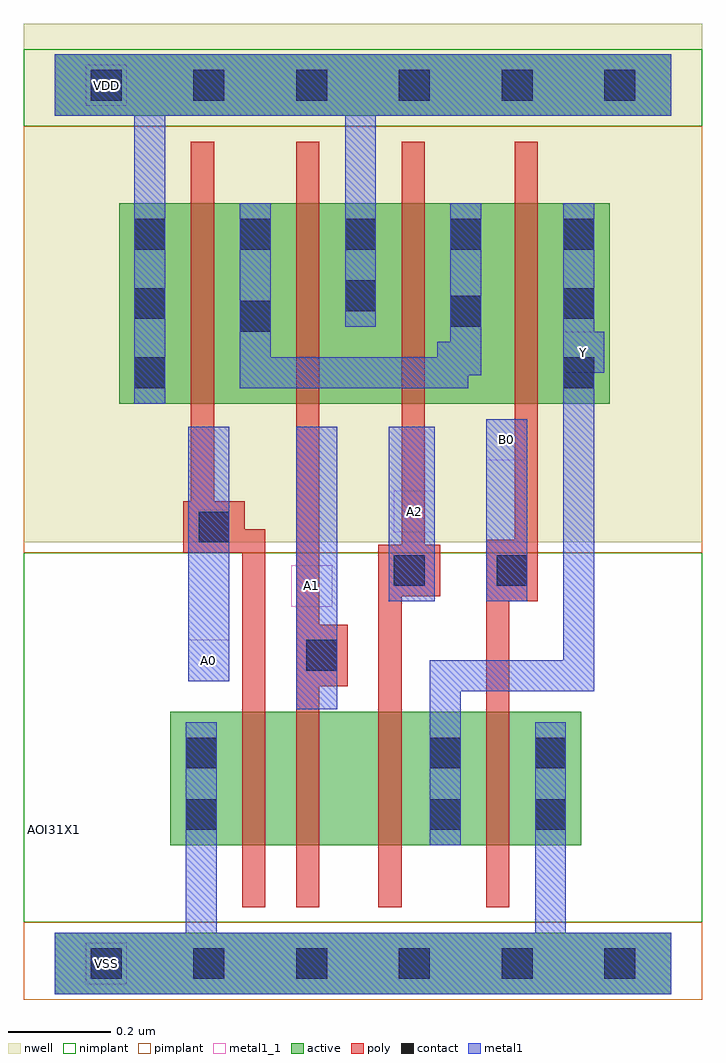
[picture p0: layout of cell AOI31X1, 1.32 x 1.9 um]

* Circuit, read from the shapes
.subckt AOI31X1 A0 A1 A2 B0 VDD VSS Y
M1 n1 A0 VSS VSS nfet w=0.26u l=0.045u
M2 n2 A1 n1 VSS nfet w=0.26u l=0.045u
M3 Y A2 n2 VSS nfet w=0.26u l=0.045u
M4 VSS B0 Y VSS nfet w=0.26u l=0.045u
M5 n3 A0 VDD VDD pfet w=0.39u l=0.045u
M6 VDD A1 n3 VDD pfet w=0.39u l=0.045u
M7 n3 A2 VDD VDD pfet w=0.39u l=0.045u
M8 Y B0 n3 VDD pfet w=0.39u l=0.045u
.ends

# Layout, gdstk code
import gdstk
lib = gdstk.Library(unit=1e-6, precision=5e-10)
def R(c, l, rs):  # rectangles x0, y0, x1, y1
    for r in rs: c.add(gdstk.rectangle(r[:2], r[2:], *l))
def A(c, l, x, y, w, h, nx, ny, dx, dy):  # array of equal rectangles
    R(c, l, [(x+i*dx, y+j*dy, x+i*dx+w, y+j*dy+h) for i in range(nx) for j in range(ny)])
def P(c, l, *ps):  # polygons
    for p in ps: c.add(gdstk.Polygon(p, *l))
active = (1, 0)
nwell = (2, 0)
poly = (3, 0)
nimplant = (4, 0)
pimplant = (5, 0)
contact = (6, 0)
metal1 = (7, 0)
metal1_1 = (7, 1)

aoi31x1 = lib.new_cell('AOI31X1')
R(aoi31x1, active, [(0,-0.06,1.2,0.06), (0.225,0.23,1.025,0.49), (0.125,1.09,1.08,1.48), (0,1.65,1.2,1.77)])
R(aoi31x1, nwell, [(-0.06,0.82,1.26,1.83)])
P(aoi31x1, poly, [(0.265,1.6),(0.31,1.6),(0.31,0.9),(0.37,0.9),(0.37,0.845),(0.41,0.845),(0.41,0.11),(0.365,0.11),(0.365,0.8),(0.25,0.8),(0.25,0.9),(0.265,0.9)],
  [(0.47,1.6),(0.515,1.6),(0.515,0.66),(0.57,0.66),(0.57,0.54),(0.515,0.54),(0.515,0.11),(0.47,0.11)],
  [(0.675,1.6),(0.72,1.6),(0.72,0.815),(0.75,0.815),(0.75,0.715),(0.675,0.715),(0.675,0.11),(0.63,0.11),(0.63,0.815),(0.675,0.815)],
  [(0.895,1.6),(0.94,1.6),(0.94,0.705),(0.885,0.705),(0.885,0.11),(0.84,0.11),(0.84,0.825),(0.895,0.825)])
R(aoi31x1, nimplant, [(-0.06,0.08,1.26,0.8), (-0.06,1.63,1.26,1.78)])
R(aoi31x1, pimplant, [(-0.06,-0.07,1.26,0.08), (-0.06,0.8,1.26,1.63)])
A(aoi31x1, contact, 0.07, -0.03, 0.06, 0.06, 6, 2, 0.2, 1.71)
A(aoi31x1, contact, 0.99, 1.12, 0.06, 0.06, 1, 3, 0, 0.135)
A(aoi31x1, contact, 0.155, 1.39, 0.06, 0.06, 4, 1, 0.205, 0)
R(aoi31x1, contact, [(0.255,0.26,0.315,0.32), (0.73,0.26,0.79,0.32), (0.935,0.26,0.995,0.32), (0.255,0.38,0.315,0.44), (0.73,0.38,0.79,0.44), (0.935,0.38,0.995,0.44), (0.49,0.57,0.55,0.63), (0.66,0.735,0.72,0.795), (0.86,0.735,0.92,0.795), (0.28,0.82,0.34,0.88), (0.155,1.12,0.215,1.18), (0.36,1.23,0.42,1.29), (0.77,1.24,0.83,1.3), (0.155,1.255,0.215,1.315), (0.565,1.27,0.625,1.33)])
R(aoi31x1, metal1, [(0.47,0.495,0.55,1.045), (0.26,0.55,0.34,1.045), (0.65,0.705,0.74,1.045), (0.84,0.705,0.92,1.06)])
P(aoi31x1, metal1, [(0.255,0.47),(0.315,0.47),(0.315,0.06),(0.935,0.06),(0.935,0.47),(0.995,0.47),(0.995,0.06),(1.2,0.06),(1.2,-0.06),(0,-0.06),(0,0.06),(0.255,0.06)],
  [(0,1.77),(1.2,1.77),(1.2,1.65),(0.625,1.65),(0.625,1.24),(0.565,1.24),(0.565,1.65),(0.215,1.65),(0.215,1.09),(0.155,1.09),(0.155,1.65),(0,1.65)],
  [(0.83,1.48),(0.77,1.48),(0.77,1.21),(0.745,1.21),(0.745,1.18),(0.42,1.18),(0.42,1.48),(0.36,1.48),(0.36,1.12),(0.805,1.12),(0.805,1.145),(0.83,1.145)],
  [(0.99,1.48),(1.05,1.48),(1.05,1.23),(1.07,1.23),(1.07,1.15),(1.05,1.15),(1.05,0.53),(0.79,0.53),(0.79,0.23),(0.73,0.23),(0.73,0.59),(0.99,0.59)])
R(aoi31x1, metal1_1, [(0.06,-0.04,0.14,0.04), (0.26,0.55,0.34,0.63), (0.46,0.695,0.54,0.775), (0.66,0.84,0.74,0.92), (0.84,0.98,0.92,1.06), (0.99,1.15,1.07,1.23), (0.06,1.67,0.14,1.75)])
aoi31x1.add(gdstk.Label('Y', (1.03,1.19), layer=7, texttype=1))
aoi31x1.add(gdstk.Label('B0', (0.88,1.02), layer=7, texttype=1))
aoi31x1.add(gdstk.Label('VSS', (0.1,0), layer=7, texttype=1))
aoi31x1.add(gdstk.Label('A0', (0.3,0.59), layer=7, texttype=1))
aoi31x1.add(gdstk.Label('A2', (0.7,0.88), layer=7, texttype=1))
aoi31x1.add(gdstk.Label('A1', (0.5,0.735), layer=7, texttype=1))
aoi31x1.add(gdstk.Label('VDD', (0.1,1.71), layer=7, texttype=1))
aoi31x1.add(gdstk.Label('AOI31X1', (0,0.26), layer=63, texttype=0))

lib.write_gds('AOI31X1.gds')
